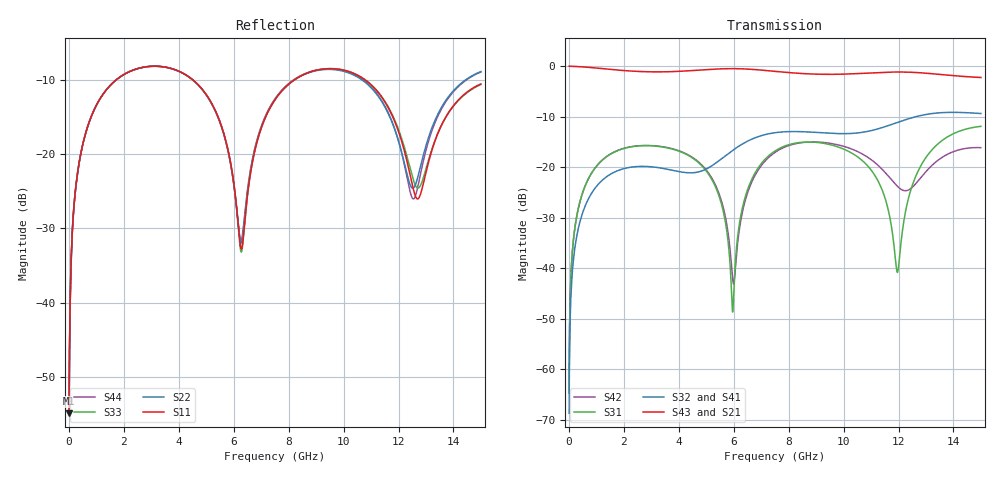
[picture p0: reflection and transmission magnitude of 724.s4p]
! Created with skrf 1.8.0 (http://scikit-rf.org).
# GHz S RI R 50.0
!freq ReS11 ImS11 ReS12 ImS12 ReS13 ImS13
! ReS14 ImS14
! ReS21 ImS21 ReS22 ImS22 ReS23 ImS23
! ReS24 ImS24
! ReS31 ImS31 ReS32 ImS32 ReS33 ImS33
! ReS34 ImS34
! ReS41 ImS41 ReS42 ImS42 ReS43 ImS43
! ReS44 ImS44
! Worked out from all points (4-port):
!   2499 points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, 5 MHz to 15 GHz, reference 50 ohm
!   strongest paths, dB at 5 MHz, 3.476 GHz, 7.19 GHz, 11.1 GHz, 15 GHz:
!     S43: 0.0, -1.1, -0.9, -1.3, -2.2
!     S21: 0.0, -1.1, -0.9, -1.3, -2.3
!     S32: -68.7, -20.3, -13.5, -12.6, -9.4
!     S41: -68.7, -20.3, -13.5, -12.7, -9.4
!     S31: -64.6, -16.1, -18.1, -21.3, -11.9
!     S42: -64.6, -16.0, -18.5, -18.9, -16.1
!   lowest |S11| = -54.9 dB at 5 MHz (marker M1), VSWR 1.00, Z = 50.1 + j0.109 ohm
!   |S11| at or under -10 dB: start of sweep to 1.72 GHz; 4.511 GHz to 8.209 GHz (3.699 GHz wide, 58.2 % of centre); 10.78 GHz to end of sweep
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0.005  0.00143 0.00108  0.9985 -0.00278  7.17e-05 0.000582  -6.96e-05 -0.000362
       0.9985 -0.00278  0.00143 0.00108  -6.96e-05 -0.000362  7.17e-05 0.000582
       7.17e-05 0.000582  -6.96e-05 -0.000362  0.00143 0.00108  0.9985 -0.00278
       -6.96e-05 -0.000362  7.17e-05 0.000582  0.9985 -0.00278  0.00143 0.00108
0.3626511  0.0239 0.0824  0.9672 -0.2004  0.0114 0.0401  -0.00946 -0.0246
           0.9672 -0.2004  0.0239 0.0824  -0.00946 -0.0246  0.0115 0.04
           0.0114 0.0401  -0.00946 -0.0246  0.0239 0.0824  0.9672 -0.2004
           -0.00946 -0.0246  0.0115 0.04  0.9672 -0.2004  0.0239 0.0824
1.619545  0.2408 0.1867  0.6095 -0.6919  0.1201 0.072  -0.087 -0.016
          0.6095 -0.6919  0.2405 0.1868  -0.0871 -0.0159  0.121 0.0709
          0.1201 0.072  -0.0871 -0.0159  0.2407 0.1867  0.6095 -0.6919
          -0.087 -0.016  0.121 0.0709  0.6095 -0.6919  0.2406 0.1867
5.958733  0.0328 -0.0647  -0.9159 -0.2276  0.0037 -0.000241  -0.0316 0.1432
          -0.9159 -0.2276  0.0346 -0.0625  -0.0298 0.1437  -0.00712 -0.00349
          0.0037 -0.000241  -0.0298 0.1437  0.0319 -0.0642  -0.916 -0.2273
          -0.0316 0.1432  -0.00712 -0.00349  -0.916 -0.2273  0.0351 -0.0617
9.772822  0.3714 -0.0405  0.0116 0.8312  0.1376 -0.0807  0.2031 -0.0644
          0.0116 0.8312  0.3663 -0.0383  0.2037 -0.0695  0.134 -0.0998
          0.1376 -0.0807  0.2037 -0.0695  0.3727 -0.0348  0.0114 0.8304
          0.2031 -0.0644  0.134 -0.0998  0.0114 0.8304  0.3686 -0.0441
11.96123  0.0901 -0.1182  0.7709 0.413  0.00909 -0.00078  0.1278 -0.2464
          0.7709 0.413  0.0891 -0.0935  0.1198 -0.2503  -0.0563 -0.0319
          0.00909 -0.00078  0.1198 -0.2503  0.0994 -0.1166  0.7699 0.414
          0.1278 -0.2464  -0.0563 -0.0319  0.7699 0.414  0.0823 -0.1004
15  0.2786 0.1026  0.4175 -0.6481  0.2351 -0.0955  -0.3151 -0.1258
    0.4175 -0.6481  0.3459 0.0974  -0.3191 -0.1166  0.1556 0.0134
    0.2351 -0.0955  -0.3191 -0.1166  0.2774 0.0975  0.4187 -0.6485
    -0.3151 -0.1258  0.1556 0.0134  0.4187 -0.6485  0.3422 0.1023
